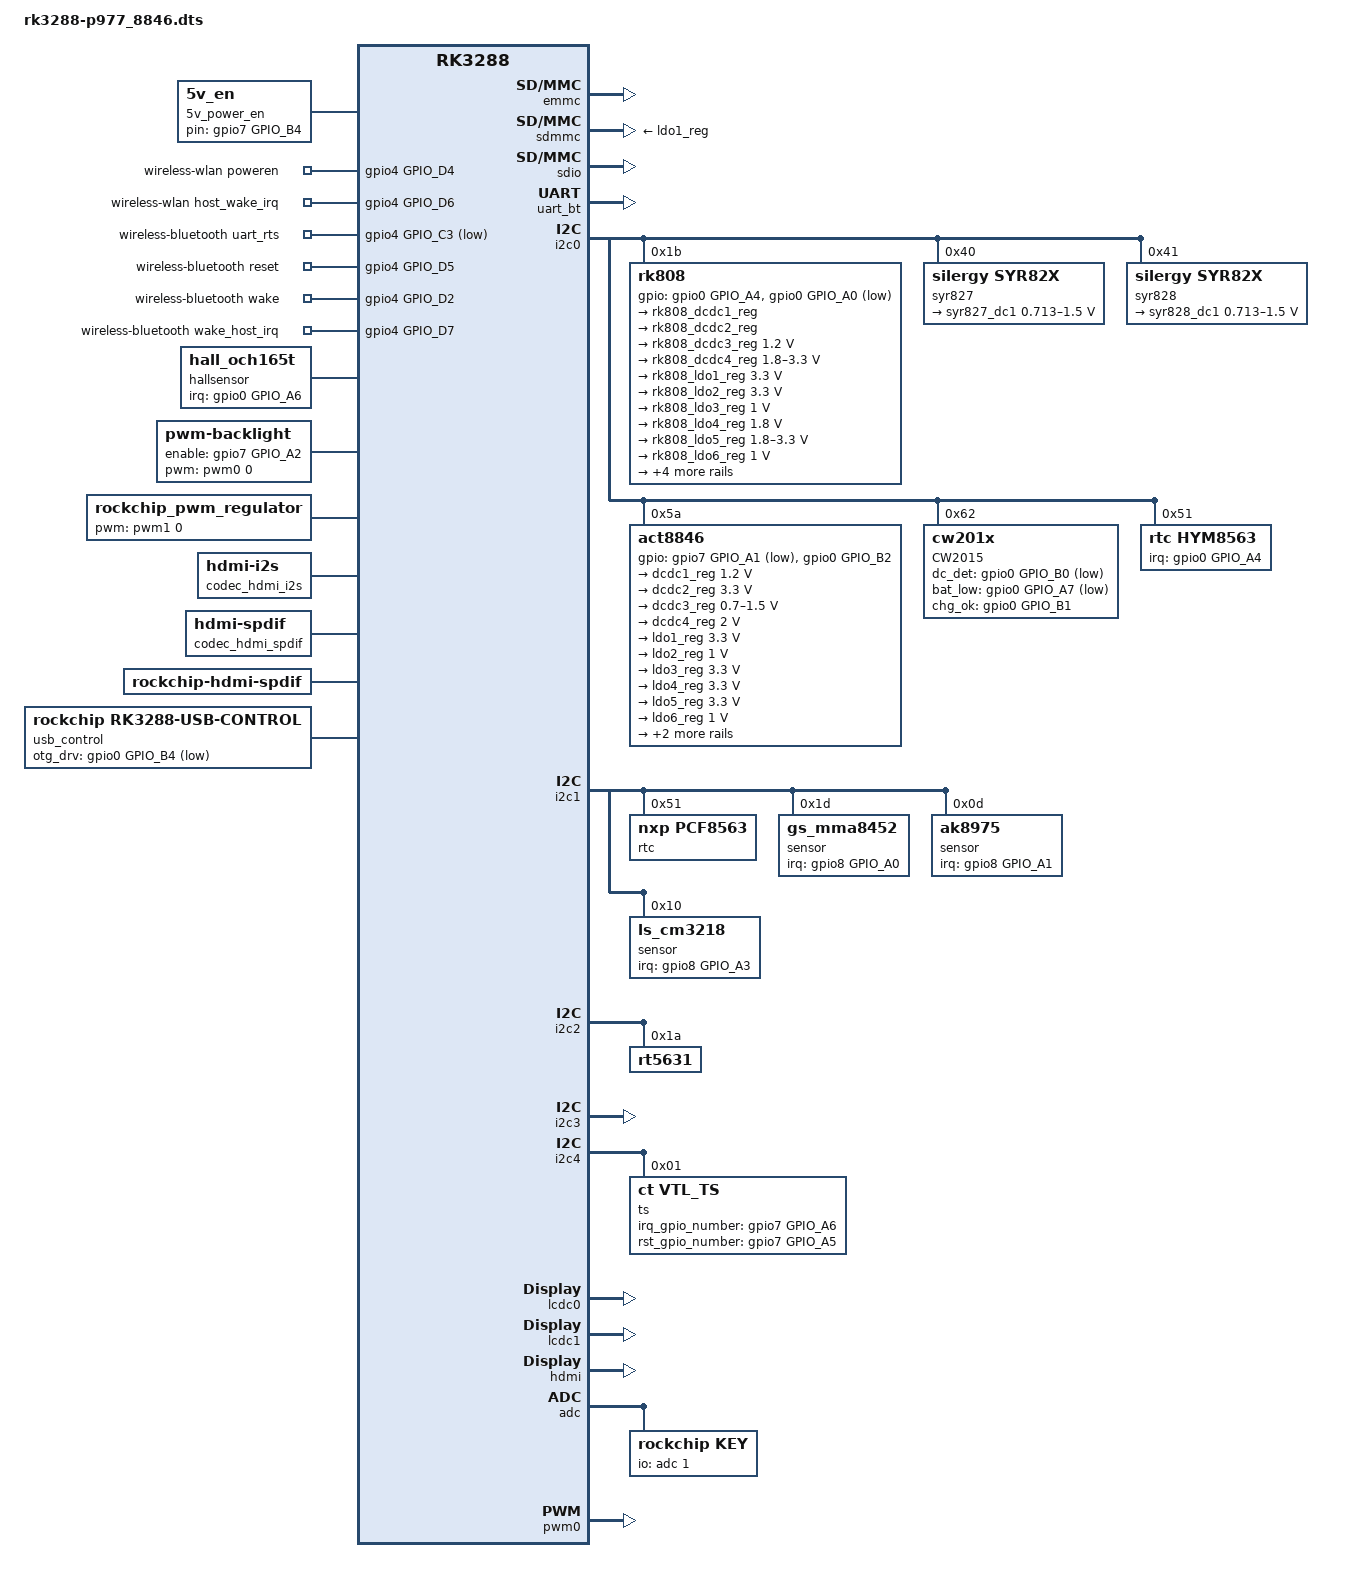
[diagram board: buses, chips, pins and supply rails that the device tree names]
/dts-v1/;

#include "rk3288.dtsi"
#include "lcd-LP097Qx1.dtsi"

/ {
	fiq-debugger {
		status = "okay";
	};

	5v_power_en {
        compatible = "5v_en";
		5ven,pin =<&gpio7 GPIO_B4 GPIO_ACTIVE_HIGH>;	// 5v power for otg and hdmi
		status = "okay";	
	};


    wireless-wlan {
        compatible = "wlan-platdata";

        wifi_chip_type = "";
        sdio_vref = <1800>; //1800mv or 3300mv

        //power_ctrl_by_pmu;
        pmu_regulator = "act_ldo3";
        pmu_enable_level = <1>; //1->HIGH, 0->LOW

        WIFI,poweren_gpio = <&gpio4 GPIO_D4 GPIO_ACTIVE_HIGH>;
        WIFI,host_wake_irq = <&gpio4 GPIO_D6 GPIO_ACTIVE_HIGH>;
        //WIFI,reset_gpio = <&gpio0 GPIO_A2 GPIO_ACTIVE_LOW>;

        status = "okay";
    };

    wireless-bluetooth {
        compatible = "bluetooth-platdata";

        uart_rts_gpios = <&gpio4 GPIO_C3 GPIO_ACTIVE_LOW>;
        pinctrl-names = "default","rts_gpio";
        pinctrl-0 = <&uart0_rts>;
        pinctrl-1 = <&uart0_rts_gpio>;

        //BT,power_gpio = <&gpio4 GPIO_D3 GPIO_ACTIVE_HIGH>;
        BT,reset_gpio = <&gpio4 GPIO_D5 GPIO_ACTIVE_HIGH>;
        BT,wake_gpio = <&gpio4 GPIO_D2 GPIO_ACTIVE_HIGH>;
        BT,wake_host_irq = <&gpio4 GPIO_D7 GPIO_ACTIVE_HIGH>;

        status = "okay";
    };

    hallsensor {
               compatible = "hall_och165t";
               type = <SENSOR_TYPE_HALL>;
               irq-gpio = <&gpio0 GPIO_A6 IRQ_TYPE_EDGE_BOTH>;
     };

	backlight {
		compatible = "pwm-backlight";
		pwms = <&pwm0 0 25000>;
		brightness-levels = <255 254 253 252 251 250 249 248 247 246 245 244 243 242 241 240
		     239 238 237 236 235 234 233 232 231 230 229 228 227 226 225 224 223 222 221 220
		     219 218 217 216 215 214 213 212 211 210 209 208 207 206 205 204 203 202 201 200
		     199 198 197 196 195 194 193 192 191 190 189 188 187 186 185 184 183 182 181 180
		     179 178 177 176 175 174 173 172 171 170 169 168 167 166 165 164 163 162 161 160
		     159 158 157 156 155 154 153 152 151 150 149 148 147 146 145 144 143 142 141 140
		     139 138 137 136 135 134 133 132 131 130 129 128 127 126 125 124 123 122 121 120
		     119 118 117 116 115 114 113 112 111 110 109 108 107 106 105 104 103 102 101 100
		     99 98 97 96 95 94 93 92 91 90 89 88 87 86 85 84 83 82 81 80 79 78 77 76 75 74 73 72 71 70
		     69 68 67 66 65 64 63 62 61 60 59 58 57 56 55 54 53 52 51 50 49 48 47 46 45 44 43 42 41 40
		     39 38 37 36 35 34 33 32 31 30 29 28 27 26 25 24 23 22 21 20 19 18 17 16 15 14 13 12 11 10
		     9 8 7 6 5 4 3 2 1 0>;
		default-brightness-level = <200>;
		enable-gpios = <&gpio7 GPIO_A2 GPIO_ACTIVE_HIGH>;
	};

	pwm_regulator {
		compatible = "rockchip_pwm_regulator";
		pwms = <&pwm1 0 25000>;
		rockchip,pwm_id= <1>;
		rockchip,pwm_voltage_map= <925000 950000 975000 1000000 1025000 1050000 1075000 1100000 1125000 1150000 1175000 1200000 1225000 1250000 1275000 1300000 1325000 1350000 1375000 1400000>;
		rockchip,pwm_voltage= <1000000>;
		rockchip,pwm_min_voltage= <925000>;
		rockchip,pwm_max_voltage= <1400000>;
		rockchip,pwm_suspend_voltage= <950000>;
		rockchip,pwm_coefficient= <475>;
		regulators {
			#address-cells = <1>;
			#size-cells = <0>;
			pwm_reg0: regulator@0 {
				regulator-compatible = "pwm_dcdc1";
				regulator-name= "vdd_logic";
				regulator-min-microvolt = <925000>;
				regulator-max-microvolt = <1400000>;
				regulator-always-on;
				regulator-boot-on;
			};
		};
	};

	codec_hdmi_i2s: codec-hdmi-i2s {
		compatible = "hdmi-i2s";
	};

	codec_hdmi_spdif: codec-hdmi-spdif {
		compatible = "hdmi-spdif";
	};

	rockchip-hdmi-i2s {
		compatible = "rockchip-hdmi-i2s";
		dais {
			dai0 {
				audio-codec = <&codec_hdmi_i2s>;
				i2s-controller = <&i2s>;
				format = "i2s";
				//continuous-clock;
				//bitclock-inversion;
				//frame-inversion;
				//bitclock-master;
				//frame-master;
			};
		};
	};
	
	rockchip-hdmi-spdif {
		compatible = "rockchip-hdmi-spdif";
		dais {
			dai0 {
				audio-codec = <&codec_hdmi_spdif>;
				i2s-controller = <&spdif>;
			};
		};		
	};

	rockchip-rt5631 {
		compatible = "rockchip-rt5631";
		dais {
			dai0 {
				audio-codec = <&rt5631>;
				i2s-controller = <&i2s>;
				format = "i2s";
				//continuous-clock;
				//bitclock-inversion;
				//frame-inversion;
				//bitclock-master;
				//frame-master;
			};
		};
	};

	usb_control {
		compatible = "rockchip,rk3288-usb-control";

		otg_drv_gpio = <&gpio0 GPIO_B4 GPIO_ACTIVE_LOW>;

		rockchip,remote_wakeup;
		rockchip,usb_irq_wakeup;
	};

        chosen {
                bootargs = "vmalloc=512M";
        };
};
&pinctrl {
	gpio0_gpio {
			gpio0_c2: gpio0-c2 {
				rockchip,pins = <GPIO0_C2>;
				rockchip,pull = <VALUE_PULL_DOWN>;
			};

			//to add
		};
		
	gpio7_gpio {
			gpio7_b7: gpio7-b7 {
				rockchip,pins = <GPIO7_B7>;
				rockchip,pull = <VALUE_PULL_UP>;
			};

			//to add
		};
	//could add other pinctrl definition such as gpio

};

&emmc {
	clock-frequency = <100000000>;
	clock-freq-min-max = <400000 100000000>;

        supports-highspeed;
	supports-emmc;
        bootpart-no-access;

	supports-DDR_MODE;
	caps2-mmc-hs200;

        ignore-pm-notify;
		keep-power-in-suspend;
    	status = "okay";
};
    
&sdmmc {
	clock-frequency = <50000000>;
	clock-freq-min-max = <400000 50000000>;	            
	    
	supports-highspeed;
	supports-sd;
	broken-cd;
	card-detect-delay = <200>;

	ignore-pm-notify;
        keep-power-in-suspend;
	
        vmmc-supply = <&ldo1_reg>;
	status = "okay";
};
		
&sdio {
	clock-frequency = <50000000>;
        clock-freq-min-max = <200000 50000000>;
		
  	supports-highspeed;		
	supports-sdio;
		ignore-pm-notify;
		keep-power-in-suspend;
		//cap-sdio-irq;
		status = "okay";
};

&spi0 {
	status = "disabled";
	max-freq = <48000000>;	
	/*
	spi_test@00 {
     		compatible = "rockchip,spi_test_bus0_cs0";
                reg = <0>;
                spi-max-frequency = <24000000>;
                //spi-cpha;
		//spi-cpol;
                poll_mode = <0>;
	        type = <0>;
		enable_dma = <0>;

	};

	spi_test@01 {
	        compatible = "rockchip,spi_test_bus0_cs1";
	        reg = <1>;
	        spi-max-frequency = <24000000>;
	        spi-cpha;
		spi-cpol;
	        poll_mode = <0>;
	        type = <0>;
		enable_dma = <0>;	        
	};
	*/
};

&spi1 {
	status = "disabled";
	max-freq = <48000000>;
	/*
	spi_test@10 {
	        compatible = "rockchip,spi_test_bus1_cs0";
	        reg = <0>;
	        spi-max-frequency = <24000000>;
	        //spi-cpha;
		//spi-cpol;
	        poll_mode = <0>;
	        type = <0>;
		enable_dma = <0>;
	};

	*/
};

&spi2 {
	status = "disabled";
	max-freq = <48000000>;
	/*
	spi_test@20 {
	        compatible = "rockchip,spi_test_bus2_cs0";
	        reg = <0>;
	        spi-max-frequency = <24000000>;
	        //spi-cpha;
		//spi-cpol;
	        poll_mode = <0>;
	        type = <0>;
		enable_dma = <0>;
	};

	spi_test@21 {
	        compatible = "rockchip,spi_test_bus2_cs1";
	        reg = <1>;
	        spi-max-frequency = <24000000>;
	        //spi-cpha;
		//spi-cpol;
	        poll_mode = <0>;
	        type = <0>;
		enable_dma = <0>;
	};
	*/
};
&uart_bt {
        status = "okay";
        dma-names = "!tx", "!rx";
        pinctrl-0 = <&uart0_xfer &uart0_cts>;
};

&i2c0 {
	status = "okay";
	rk808: rk808@1b {
		reg = <0x1b>;
		status = "okay";
	};
		syr827: syr827@40 {
		compatible = "silergy,syr82x";
  	reg = <0x40>;
		status = "okay";
		regulators {
			#address-cells = <1>;
			#size-cells = <0>;	
			syr827_dc1: regulator@0 {
			reg = <0>;
			regulator-compatible = "syr82x_dcdc1";
			regulator-name = "vdd_arm";
			regulator-min-microvolt = <712500>;
			regulator-max-microvolt = <1500000>;
			regulator-always-on;
			regulator-boot-on;
			regulator-initial-mode = <0x2>;
			regulator-initial-state = <3>;
			regulator-state-mem {
				regulator-state-mode = <0x2>;
				regulator-state-disabled;
				regulator-state-uv = <900000>;
			};
		};
	   };
	};
	syr828: syr828@41 {
		compatible = "silergy,syr82x";
		reg = <0x41>;
		status = "okay";
		regulators {
			#address-cells = <1>;
			#size-cells = <0>;	
			syr828_dc1: regulator@0 {
			reg = <0>;
			regulator-compatible = "syr82x_dcdc1";
			regulator-name = "vdd_gpu";
			regulator-min-microvolt = <712500>;
			regulator-max-microvolt = <1500000>;
			//regulator-always-on;
			//regulator-boot-on;
			regulator-initial-mode = <0x2>;
			regulator-initial-state = <3>;
			regulator-state-mem {
				regulator-state-mode = <0x2>;
				regulator-state-disabled;
				regulator-state-uv = <900000>;
			};	
		};
	   };
	};
	act8846: act8846@5a {
		reg = <0x5a>;
		status = "okay";
	};

	


	CW2015@62 {
		compatible = "cw201x";
		reg = <0x62>;
		dc_det_gpio = <&gpio0 GPIO_B0 GPIO_ACTIVE_LOW>;
		bat_low_gpio = <&gpio0 GPIO_A7 GPIO_ACTIVE_LOW>;
		chg_ok_gpio = <&gpio0 GPIO_B1 GPIO_ACTIVE_HIGH>;
		bat_config_info = <0x15 0x81 0x5D 0x5C 0x58 0x5B 0x57 0x4B 0x49 0x4A 0x46 0x43 0x41
				0x3A 0x38 0x30 0x26 0x1E 0x16 0x18 0x1C 0x2C 0x43 0x46 0x3C 0x93
				0x09 0x9A 0x1A 0x33 0x6C 0x6E 0x6F 0x6D 0x6B 0x6C 0x3D 0x1C 0x61
				0xB4 0x13 0x3F 0x52 0x87 0x8F 0x91 0x94 0x52 0x82 0x8C 0x92 0x96
				0x87 0x95 0xC2 0xCB 0x2F 0x7D 0x72 0xA5 0xB5 0xC1 0x27 0x69>;
		is_dc_charge = <1>;
		is_usb_charge = <0>;
	};
	
	rtc@51 {
		compatible = "rtc,hym8563";
		reg = <0x51>;
		irq_gpio = <&gpio0 GPIO_A4 IRQ_TYPE_EDGE_FALLING>;
	};

};

&i2c1 {
	status = "okay";
	rtc@51 {
		compatible = "nxp,pcf8563";
		reg = <0x51>;
	};
	
	sensor@1d {
		compatible = "gs_mma8452";
		reg = <0x1d>;
		type = <SENSOR_TYPE_ACCEL>;
		irq-gpio = <&gpio8 GPIO_A0 IRQ_TYPE_LEVEL_LOW>;
		irq_enable = <1>;
		poll_delay_ms = <30>;
		layout = <8>;
	};

	sensor@0d {
		compatible = "ak8975";
		reg = <0x0d>;
		type = <SENSOR_TYPE_COMPASS>;
		irq-gpio = <&gpio8 GPIO_A1 IRQ_TYPE_EDGE_RISING>;
		irq_enable = <1>;
		poll_delay_ms = <30>;
		layout = <1>;
	};

	sensor@10 {
              compatible = "ls_cm3218";
              reg = <0x10>;
              type = <SENSOR_TYPE_LIGHT>;
              irq-gpio = <&gpio8 GPIO_A3 IRQ_TYPE_EDGE_FALLING>;              
              irq_enable = <1>;
              poll_delay_ms = <30>;
              layout = <1>;
       };
/*	      
 	mpu6050:mpu@68{
	compatible = "mpu6050";
	reg = <0x68>;
	mpu-int_config = <0x10>;
	mpu-level_shifter = <0>;
	mpu-orientation = <1 0 0 0 1 0 0 0 1>;	
	orientation-x= <1>;
	orientation-y= <0>;
	orientation-z= <1>;
	irq-gpio = <&gpio8 GPIO_A0 IRQ_TYPE_LEVEL_LOW>;			
	mpu-debug = <0>;
	};

	ak8963:compass@0d{
	compatible = "ak8963";
	reg = <0x0d>;
	compass-bus = <0>;
	compass-adapt_num = <0>;
	compass-orientation = <1 0 0 0 1 0 0 0 1>;
	orientation-x= <0>;
	orientation-y= <0>;
	orientation-z= <1>;	
	compass-debug = <1>;
	status = "disabled";
	};

	ak8975:compass@0d{
	compatible = "ak8975";
	reg = <0x0d>;
	compass-bus = <0>;
	compass-adapt_num = <0>;
	compass-orientation = <0 1 0 1 0 0 0 0 1>;
	orientation-x= <0>;
	orientation-y= <0>;
	orientation-z= <0>;	
	compass-debug = <0>;
	};
*/
};

&i2c2 {
	status = "okay";

	rt5631: rt5631@1a {
		compatible = "rt5631";
		reg = <0x1a>;
		phone_det_level = <1>;
	};
	
};

&i2c3 {
	status = "okay";
};

&i2c4 {
	status = "okay";
	ts@01 {
		compatible = "ct,vtl_ts";
		reg = <0x01>;
		screen_max_x = <2048>;
		screen_max_y = <1536>;
		irq_gpio_number = <&gpio7 GPIO_A6 IRQ_TYPE_LEVEL_LOW>;
		rst_gpio_number = <&gpio7 GPIO_A5 GPIO_ACTIVE_HIGH>;
	};
};

&i2c5 {
	status = "disable";
};

&fb {
	rockchip,disp-mode = <DUAL>;
	rockchip,uboot-logo-on = <0>;
};

&rk_screen {
	 display-timings = <&disp_timings>;
};

/*lcdc0 as PRMRY(LCD),lcdc1 as EXTEND(HDMI)*/
&lcdc0 {
	status = "okay";
	rockchip,mirror = <NO_MIRROR>;
	rockchip,cabc_mode = <0>;
	rockchip,iommu-enabled = <0>;
	power_ctr: power_ctr {
		rockchip,debug = <0>;

		lcd_en:lcd_en {
			rockchip,power_type = <GPIO>;
			gpios = <&gpio7 GPIO_A3 GPIO_ACTIVE_HIGH>;
			rockchip,delay = <10>;
		};
	
		/*lcd_cs:lcd_cs {
			rockchip,power_type = <REGULATOR>;
			rockchip,delay = <10>;
		};

		lcd_rst:lcd_rst {
			rockchip,power_type = <GPIO>;
			gpios = <&gpio3 GPIO_D6 GPIO_ACTIVE_HIGH>;
			rockchip,delay = <5>;
		};*/

	};
};

&lcdc1 {
	status = "okay";
	rockchip,mirror = <NO_MIRROR>;
	rockchip,iommu-enabled = <0>;
};

&hdmi {
	status = "okay";
	rockchips,hdmi_audio_source = <0>;
};

&adc {
	status = "okay";


	key {
		compatible = "rockchip,key";
		io-channels = <&adc 1>;

		vol-up-key {
			linux,code = <115>;
			label = "volume up";
			rockchip,adc_value = <1>;
		};

		vol-down-key {
			linux,code = <114>;
			label = "volume down";
			rockchip,adc_value = <170>;
		};

		power-key {
			gpios = <&gpio0 GPIO_A5 GPIO_ACTIVE_LOW>;
			linux,code = <116>;
			label = "power";
			gpio-key,wakeup;
		};

		back-key {
			linux,code = <158>;
			label = "back";
			rockchip,adc_value = <355>;
		};
/*
		home-key {
			linux,code = <102>;
			label = "home";
			rockchip,adc_value = <746>;
		};

		back-key {
			linux,code = <158>;
			label = "back";
			rockchip,adc_value = <560>;
		};
*/
		camera-key {
			linux,code = <212>;
			label = "camera";
			rockchip,adc_value = <450>;
		};
	};
};

&pwm0 {
        status = "okay";
};

&pwm1 {
	status = "disabled";
};


&clk_core_dvfs_table {
	operating-points = <
		/* KHz    uV */
		126000 900000
		216000 900000
		312000 900000
		408000 900000
		600000 900000
		696000 950000
		816000 1000000
		1008000 1050000
		1200000 1100000
		1416000 1200000
		1512000 1300000
		1608000 1350000
	//	1704000 1350000
	//	1800000 1400000
		>;
	status="okay";
};

&clk_gpu_dvfs_table {
	operating-points = <
		/* KHz    uV */
		100000 900000
		200000 900000
		300000 950000
		400000 1150000
		500000 1200000
	//	600000 1250000
		>;
	status="okay";
};

&clk_ddr_dvfs_table {
	operating-points = <
		/* KHz    uV */
		200000 1000000
		300000 1000000
		420000 1050000
		533000 1100000
		>;

	freq-table = <
		/*status		freq(KHz)*/
		SYS_STATUS_NORMAL	400000
		SYS_STATUS_SUSPEND	200000
		SYS_STATUS_VIDEO_1080P  240000
		SYS_STATUS_VIDEO_4K     400000
		SYS_STATUS_PERFORMANCE  528000
		SYS_STATUS_DUALVIEW	400000
		SYS_STATUS_BOOST	324000
		SYS_STATUS_ISP		533000
		>;
	auto-freq-table = <
		240000
		324000
		396000
		528000
		>;
	auto-freq=<1>;
	status="okay";
};
/include/ "act8846.dtsi"
&act8846 {
	gpios =<&gpio7 GPIO_A1 GPIO_ACTIVE_LOW>,<&gpio0 GPIO_B2 GPIO_ACTIVE_HIGH>;
	act8846,system-power-controller;

	regulators {
		
		dcdc1_reg: regulator@0{
			regulator-name= "act_dcdc1";
			regulator-min-microvolt = <1200000>;
			regulator-max-microvolt = <1200000>;
			regulator-always-on;
			regulator-boot-on;
		};

		dcdc2_reg: regulator@1 {
			regulator-name= "vccio";
			regulator-min-microvolt = <3300000>;
			regulator-max-microvolt = <3300000>;
			regulator-initial-state = <3>;
			regulator-state-mem {
				regulator-state-enabled;
				regulator-state-uv = <3300000>;
			};		
		};

		dcdc3_reg: regulator@2 {
			regulator-name= "vdd_logic";
			regulator-min-microvolt = <700000>;
			regulator-max-microvolt = <1500000>;
			regulator-initial-state = <3>;
			regulator-state-mem {
				regulator-state-enabled;
				regulator-state-uv = <1000000>;
			};		
		
		};

		dcdc4_reg: regulator@3 {
			regulator-name= "act_dcdc4";
			regulator-min-microvolt = <2000000>;
			regulator-max-microvolt = <2000000>;
				regulator-initial-state = <3>;
			regulator-state-mem {
				regulator-state-enabled;
				regulator-state-uv = <2000000>;
			};
		};

		ldo1_reg: regulator@4 {
			regulator-name= "vccio_sd";
			regulator-min-microvolt = <3300000>;
			regulator-max-microvolt = <3300000>;
			
		};

		ldo2_reg: regulator@5 {
			regulator-name= "act_ldo2";
			regulator-min-microvolt = <1000000>;
			regulator-max-microvolt = <1000000>;
		
		};

		ldo3_reg: regulator@6 {
			regulator-name= "act_ldo3";
			regulator-min-microvolt = <3300000>;
			regulator-max-microvolt = <3300000>;
			
		};

		ldo4_reg:regulator@7 {
			regulator-name= "act_ldo4";
			regulator-min-microvolt = <3300000>;
			regulator-max-microvolt = <3300000>;
		
		};

		ldo5_reg: regulator@8 {
			regulator-name= "act_ldo5";
			regulator-min-microvolt = <3300000>;
			regulator-max-microvolt = <3300000>;
		
		};

		ldo6_reg: regulator@9 {
			regulator-name= "act_ldo6";
			regulator-min-microvolt = <1000000>;
			regulator-max-microvolt = <1000000>;
			regulator-initial-state = <3>;
			regulator-state-mem {
				regulator-state-enabled;
			};
			
		};

		ldo7_reg: regulator@10 {
			regulator-name= "vcc_18";
			regulator-min-microvolt = <1800000>;
			regulator-max-microvolt = <1800000>;
			regulator-initial-state = <3>;
			regulator-state-mem {
				regulator-state-enabled;
			};
		
		};

		ldo8_reg: regulator@11 {
			regulator-name= "act_ldo8";
			regulator-min-microvolt = <1800000>;
			regulator-max-microvolt = <1800000>;
		
		};
	};
};

/include/ "rk808.dtsi"
&rk808 {
	gpios =<&gpio0 GPIO_A4 GPIO_ACTIVE_HIGH>,<&gpio0 GPIO_A0 GPIO_ACTIVE_LOW>;
	rk808,system-power-controller;

	regulators {
		
		rk808_dcdc1_reg: regulator@0{
			regulator-name= "vdd_arm";
			regulator-always-on;
			regulator-boot-on;
		};

		rk808_dcdc2_reg: regulator@1 {
			regulator-name= "vdd_gpu";
			regulator-always-on;
			regulator-boot-on;
		};

		rk808_dcdc3_reg: regulator@2 {
			regulator-name= "rk_dcdc3";
			regulator-min-microvolt = <1200000>;
			regulator-max-microvolt = <1200000>;
			regulator-always-on;
			regulator-boot-on;
		};

		rk808_dcdc4_reg: regulator@3 {
			regulator-name= "vccio";
			regulator-min-microvolt = <1800000>;
			regulator-max-microvolt = <3300000>;
			regulator-always-on;
			regulator-boot-on;
		};

		rk808_ldo1_reg: regulator@4 {
			regulator-name= "rk_ldo1";
			regulator-min-microvolt = <3300000>;
			regulator-max-microvolt = <3300000>;
			regulator-always-on;
			regulator-boot-on;
		};

		rk808_ldo2_reg: regulator@5 {
			regulator-name= "rk_ldo2";
			regulator-min-microvolt = <3300000>;
			regulator-max-microvolt = <3300000>;
			regulator-always-on;
			regulator-boot-on;
		};

		rk808_ldo3_reg: regulator@6 {
			regulator-name= "rk_ldo3";
			regulator-min-microvolt = <1000000>;
			regulator-max-microvolt = <1000000>;
			regulator-always-on;
			regulator-boot-on;
		};

		rk808_ldo4_reg:regulator@7 {
			regulator-name= "rk_ldo4";
			regulator-min-microvolt = <1800000>;
			regulator-max-microvolt = <1800000>;
			regulator-always-on;
			regulator-boot-on;
		};

		rk808_ldo5_reg: regulator@8 {
			regulator-name= "vcc_sd";
			regulator-min-microvolt = <1800000>;
			regulator-max-microvolt = <3300000>;
			regulator-always-on;
			regulator-boot-on;
		};

		rk808_ldo6_reg: regulator@9 {
			regulator-name= "rk_ldo6";
			regulator-min-microvolt = <1000000>;
			regulator-max-microvolt = <1000000>;
			regulator-always-on;
			regulator-boot-on;
		};

		rk808_ldo7_reg: regulator@10 {
			regulator-name= "rk_ldo7";
			regulator-min-microvolt = <1800000>;
			regulator-max-microvolt = <1800000>;
			regulator-always-on;
			regulator-boot-on;
		};

		rk808_ldo8_reg: regulator@11 {
			regulator-name= "rk_ldo8";
			regulator-min-microvolt = <3300000>;
			regulator-max-microvolt = <3300000>;
			regulator-always-on;
			regulator-boot-on;
		};

		rk808_ldo9_reg: regulator@12 {
			regulator-name= "rk_ldo9";
			regulator-always-on;
			regulator-boot-on;
		};

		rk808_ldo10_reg: regulator@13 {
			regulator-name= "rk_ldo10";
			regulator-always-on;
			regulator-boot-on;
		};
	};
};

&lcdc_vdd_domain {
	regulator-name = "vcc30_lcd";
	};
&dpio_vdd_domain{
	regulator-name = "vcc18_cif";	
	};
&flash0_vdd_domain{
	regulator-name = "vcc_flash";	
	};
&flash1_vdd_domain{
	regulator-name = "vcc_flash";			
	};
&apio3_vdd_domain{
	regulator-name = "vccio_wl";		
	};
&apio5_vdd_domain{
	regulator-name = "vccio";		
	};
&apio4_vdd_domain{
	regulator-name = "vccio";		
	};
&apio1_vdd_domain{
	regulator-name = "vccio";			
	};
&apio2_vdd_domain{
	regulator-name = "vccio";		
	};
&sdmmc0_vdd_domain{
	regulator-name = "vcc_sd";			
	};
&ion_cma {
	reg = <0x40000000 0x20000000>; /* 512MB */
};
